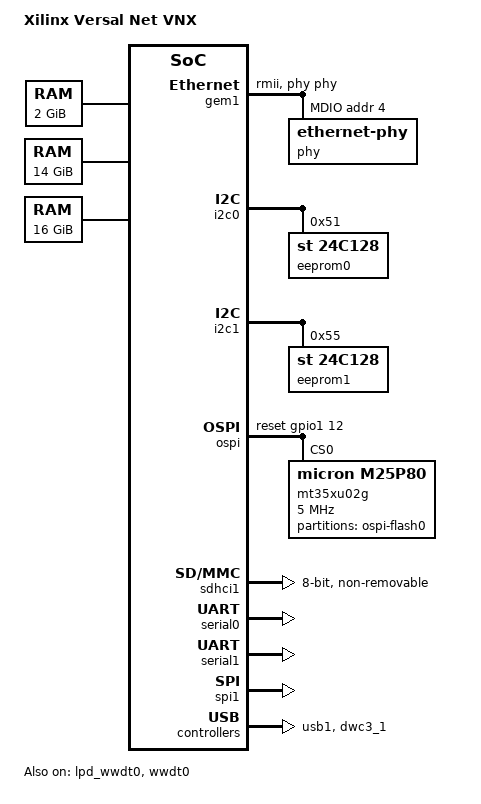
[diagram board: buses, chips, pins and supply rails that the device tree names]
// SPDX-License-Identifier: GPL-2.0
/*
 * dts file for Xilinx Versal Net VNX board
 *
 * (C) Copyright 2022, Xilinx, Inc.
 * (C) Copyright 2022 - 2023, Advanced Micro Devices, Inc.
 *
 * Michal Simek <michal.simek@amd.com>
 */

/dts-v1/;

#include "versal-net.dtsi"
#include "versal-net-clk-ccf.dtsi"
#include <dt-bindings/gpio/gpio.h>

/ {
	compatible = "xlnx,versal-net-vn-x-b2197-00-revA",
		     "xlnx,versal-net-vn-x-b2197-00", "xlnx,versal-net";
	model = "Xilinx Versal Net VNX";

	memory: memory@0 {
		reg = <0 0 0 0x80000000>;
		device_type = "memory";
	};

	memory_hi: memory@800000000 {
		reg = <8 0 3 0x80000000>;
		device_type = "memory";
	};

	memory_hi2: memory@50000000000 {
		reg = <0x500 0 4 0>;
		device_type = "memory";
	};

	chosen {
		bootargs = "console=ttyAMA1,115200 clk_ignore_unused";
		stdout-path = "serial1:115200";
	};

	aliases {
		nvmem0 = &eeprom0;
	};
};

&adma0 {
	status = "okay";
};

&adma1 {
	status = "okay";
};

&adma2 {
	status = "okay";
};

&adma3 {
	status = "okay";
};

&adma4 {
	status = "okay";
};

&adma5 {
	status = "okay";
};

&adma6 {
	status = "okay";
};

&adma7 {
	status = "okay";
};

&lpd_wwdt0 {
	status = "okay";
};

&gem1 {
	status = "okay";
	#address-cells = <1>;
	#size-cells = <0>;
	phy-handle = <&phy>;
	phy-mode = "rmii";
	mdio {
		#address-cells = <1>;
		#size-cells = <0>;
		phy: ethernet-phy {
			reg = <4>;
		};
	};
};

&gpio0 {
	status = "okay";
};

&gpio1 {
	status = "okay";
};

&i2c0 {
	status = "okay";
	eeprom0: eeprom@51 {
		compatible = "st,24c128", "atmel,24c128";
		reg = <0x51>;
		u-boot,dm-pre-reloc;
	};
};

&i2c1 {
	status = "okay";
	eeprom1: eeprom@55 {
		compatible = "st,24c128", "atmel,24c128";
		reg = <0x55>;
		u-boot,dm-pre-reloc;
	};
};

&ospi {
	status = "okay";
	is-dual = <0>;
	is-stacked = <1>;
	reset-gpios = <&gpio1 12 GPIO_ACTIVE_HIGH>;
	reset-names = "qspi";
	#address-cells = <1>;
	#size-cells = <0>;

	mt35xu02g: flash@0 {
		compatible = "micron,m25p80", "jedec,spi-nor";
		reg = <0>;
		#address-cells = <1>;
		#size-cells = <1>;
		cdns,read-delay = <0>;
		cdns,tshsl-ns = <0>;
		cdns,tsd2d-ns = <0>;
		cdns,tchsh-ns = <1>;
		cdns,tslch-ns = <1>;
		spi-tx-bus-width = <8>;
		spi-rx-bus-width = <8>;
		spi-max-frequency = <5000000>;
		broken-flash-reset;

		partitions {
			compatible = "fixed-partitions";
			#address-cells = <1>;
			#size-cells = <1>;
			partition@0 {
				label = "ospi-flash0";
				reg = <0 0x8000000>;
			};
		};
	};
};

&sdhci1 {
	status = "okay";
	non-removable;
	disable-wp;
	bus-width = <8>;
	no-1-8-v;
};

&serial0 {
	status = "okay";
};

&serial1 {
	status = "okay";
};

&spi1 {
	status = "okay";
	#address-cells = <1>;
	#size-cells = <0>;
	num-cs = <3>;
};

&usb1 {
	status = "okay";
};

&dwc3_1 {
	status = "okay";
	snps,refclk_fladj;
	snps,mask_phy_reset;
	phy-names = "usb3-phy";
};

&wwdt0 {
	status = "okay";
};
